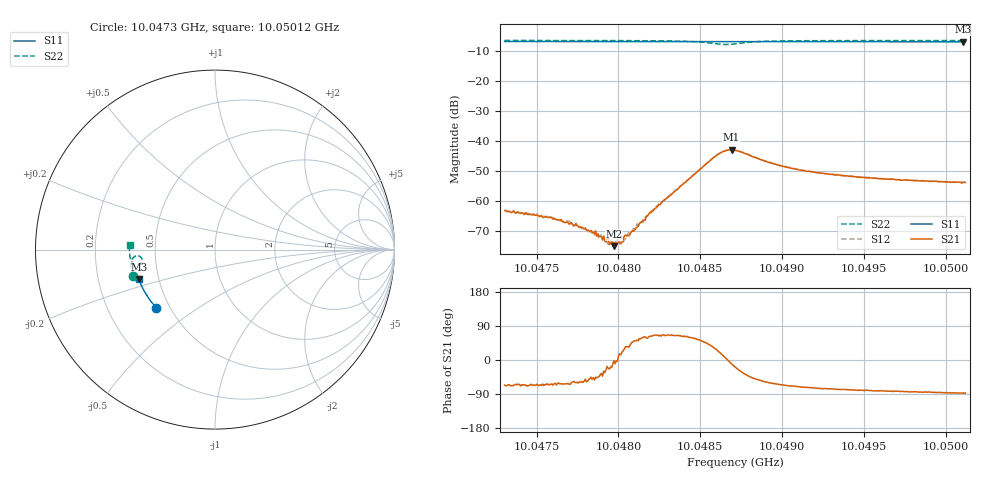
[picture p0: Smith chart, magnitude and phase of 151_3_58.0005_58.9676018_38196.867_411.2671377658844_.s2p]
#  HZ  S  RI  R  50.00
! Rohde & Schwarz Vector Network Analyzer
! Rohde-Schwarz,ZNB20-2Port,1311601062101988,3.16
! Created: UTC 3/21/2024, 12:57:02 AM
! freq[Hz]  re:S11  im:S11  re:S21  im:S21  re:S12  im:S12  re:S22  im:S22
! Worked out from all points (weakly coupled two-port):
!   401 points, 10.0473 GHz to 10.05012 GHz, reference 50 ohm
!   highest |S21| = -42.87 dB at 10.04869 GHz (marker M1); lowest = -75.0 dB at 10.04797 GHz (marker M2)
!   lowest |S11| = -6.8 dB at 10.05011 GHz (marker M3), VSWR 2.67, Z = 19.3 - j8.08 ohm
!   |S11| at or under -10 dB: nowhere
!   |S22| runs from -7.7 to -6.4 dB; largest |S21 - S12| = 0.0005
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1.0047305e10  -0.3281 -0.3227  0.00028 -0.000639  0.000329 -0.000622  -0.4563 -0.1449
1.0047601e10  -0.3412 -0.3081  0.000201 -0.000459  0.000299 -0.000446  -0.4615 -0.1246
1.0047664e10  -0.3438 -0.3051  0.000203 -0.000404  0.000252 -0.00039  -0.4626 -0.1201
1.0047699e10  -0.3453 -0.303  0.000181 -0.000371  0.000248 -0.000391  -0.4631 -0.1174
1.0047777e10  -0.3486 -0.2992  0.0002 -0.000305  0.000223 -0.000266  -0.464 -0.1117
1.0047868e10  -0.3523 -0.2942  0.000176 -0.000191  0.000216 -0.000181  -0.4653 -0.1049
1.0047896e10  -0.3534 -0.2928  0.00021 -0.000148  0.000227 -0.000153  -0.4655 -0.1025
1.0047931e10  -0.355 -0.2908  0.000226 -6.92e-05  0.000194 -7.88e-05  -0.4658 -0.0998
1.0047974e10  -0.3565 -0.2886  0.000178 -6.45e-06  0.000195 -1.57e-05  -0.4662 -0.0963
1.0048009e10  -0.3579 -0.287  0.000191 5.6e-05  0.000205 6.44e-05  -0.4665 -0.0934
1.004803e10  -0.3588 -0.2857  0.000211 9.67e-05  0.000181 9.76e-05  -0.4667 -0.0917
1.00481e10  -0.3616 -0.2821  0.000208 0.000257  0.000212 0.000269  -0.4671 -0.0854
1.0048248e10  -0.3675 -0.2741  0.00039 0.000788  0.000309 0.000841  -0.4665 -0.071
1.0048593e10  -0.3796 -0.2548  0.00489 0.00276  0.00471 0.0031  -0.4222 -0.0362
1.0048643e10  -0.3811 -0.2523  0.00664 0.00127  0.0066 0.00165  -0.4077 -0.0502
1.0048692e10  -0.3827 -0.2496  0.00707 -0.00129  0.00716 -0.000799  -0.4078 -0.0721
1.0048713e10  -0.3834 -0.2487  0.00668 -0.00223  0.0069 -0.00179  -0.4128 -0.0796
1.0048988e10  -0.3931 -0.2331  0.00165 -0.00354  0.00189 -0.00349  -0.4651 -0.0674
1.0049185e10  -0.3993 -0.2216  0.000875 -0.00295  0.00106 -0.00292  -0.4723 -0.0473
1.0049656e10  -0.4129 -0.1935  0.000327 -0.0023  0.000436 -0.0023  -0.4766 -0.00909
1.0050107e10  -0.4238 -0.166  0.000102 -0.00206  0.000228 -0.00204  -0.4762 0.0229
1.0050121e10  -0.4242 -0.1652  0.000113 -0.00205  0.000222 -0.00203  -0.4763 0.0238
